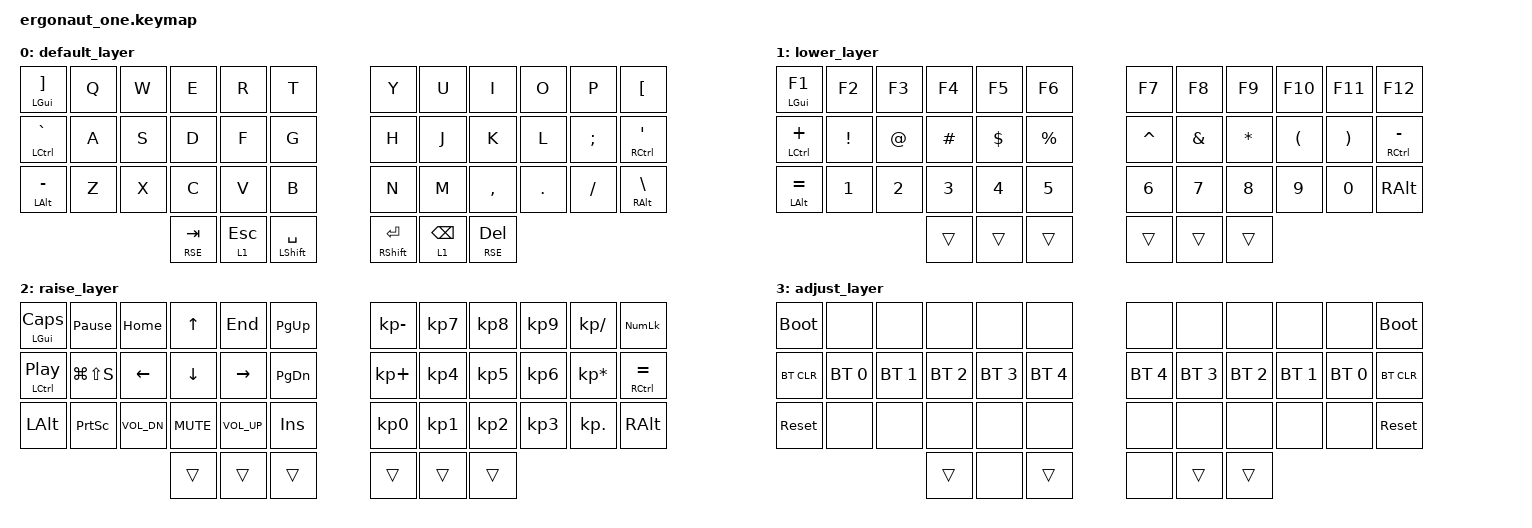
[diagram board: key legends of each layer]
#include <behaviors.dtsi>
#include <dt-bindings/zmk/bt.h>
#include <dt-bindings/zmk/keys.h>

#define DEF 0
#define LWR 1
#define RSE 2
#define ADJ 3

&lt {
    quick_tap_ms = <200>;
};

&mt {
    quick_tap_ms = <200>;
};

/ {
    conditional_layers {
        compatible = "zmk,conditional-layers";

        tri-layer {
            if-layers = <1 2>;
            then-layer = <3>;
        };
    };

    keymap {
        compatible = "zmk,keymap";

        default_layer {
            bindings = <
&mt LGUI RBKT    &kp Q  &kp W  &kp E        &kp R         &kp T                 &kp Y                  &kp U            &kp I        &kp O    &kp P     &kp LBKT
&mt LCTRL GRAVE  &kp A  &kp S  &kp D        &kp F         &kp G                 &kp H                  &kp J            &kp K        &kp L    &kp SEMI  &mt RCTRL SQT
&mt LALT MINUS   &kp Z  &kp X  &kp C        &kp V         &kp B                 &kp N                  &kp M            &kp COMMA    &kp DOT  &kp FSLH  &mt RALT BSLH
                               &lt RSE TAB  &lt 1 ESCAPE  &mt LEFT_SHIFT SPACE  &mt RIGHT_SHIFT ENTER  &lt 1 BACKSPACE  &lt RSE DEL
            >;
        };

        lower_layer {
            bindings = <
&mt LGUI F1     &kp F2    &kp F3  &kp F4    &kp F5    &kp F6     &kp F7     &kp F8    &kp F9    &kp F10   &kp F11   &kp F12
&mt LCTRL PLUS  &kp EXCL  &kp AT  &kp HASH  &kp DLLR  &kp PRCNT  &kp CARET  &kp AMPS  &kp STAR  &kp LPAR  &kp RPAR  &mt RCTRL MINUS
&mt LALT EQUAL  &kp N1    &kp N2  &kp N3    &kp N4    &kp N5     &kp N6     &kp N7    &kp N8    &kp N9    &kp N0    &kp RALT
                                  &trans    &trans    &trans     &trans     &trans    &trans
            >;
        };

        raise_layer {
            bindings = <
&mt LGUI CAPSLOCK       &kp PAUSE_BREAK  &kp HOME      &kp UP      &kp END       &kp PG_UP  &kp KP_MINUS     &kp KP_NUMBER_7  &kp KP_NUMBER_8  &kp KP_NUMBER_9  &kp KP_SLASH     &kp KP_NUMLOCK
&mt LCTRL C_PLAY_PAUSE  &kp LG(LS(S))    &kp LEFT      &kp DOWN    &kp RIGHT     &kp PG_DN  &kp KP_PLUS      &kp KP_NUMBER_4  &kp KP_NUMBER_5  &kp KP_NUMBER_6  &kp KP_MULTIPLY  &mt RCTRL EQUAL
&kp LALT                &kp PRINTSCREEN  &kp C_VOL_DN  &kp C_MUTE  &kp C_VOL_UP  &kp INS    &kp KP_NUMBER_0  &kp KP_NUMBER_1  &kp KP_NUMBER_2  &kp KP_NUMBER_3  &kp KP_DOT       &kp RALT
                                                       &trans      &trans        &trans     &trans           &trans           &trans
            >;
        };

        adjust_layer {
            bindings = <
&bootloader  &none         &none         &none         &none         &none         &none         &none         &none         &none         &none         &bootloader
&bt BT_CLR   &bt BT_SEL 0  &bt BT_SEL 1  &bt BT_SEL 2  &bt BT_SEL 3  &bt BT_SEL 4  &bt BT_SEL 4  &bt BT_SEL 3  &bt BT_SEL 2  &bt BT_SEL 1  &bt BT_SEL 0  &bt BT_CLR
&sys_reset   &none         &none         &none         &none         &none         &none         &none         &none         &none         &none         &sys_reset
                                         &trans        &none         &trans        &none         &trans        &trans
            >;
        };
    };
};
